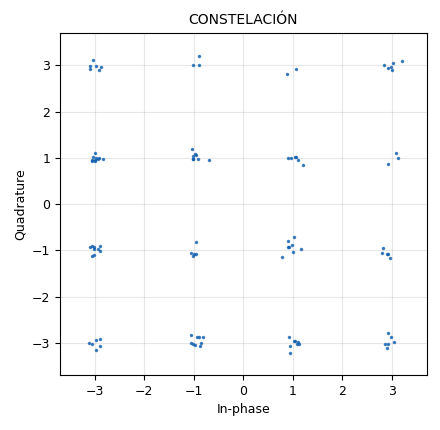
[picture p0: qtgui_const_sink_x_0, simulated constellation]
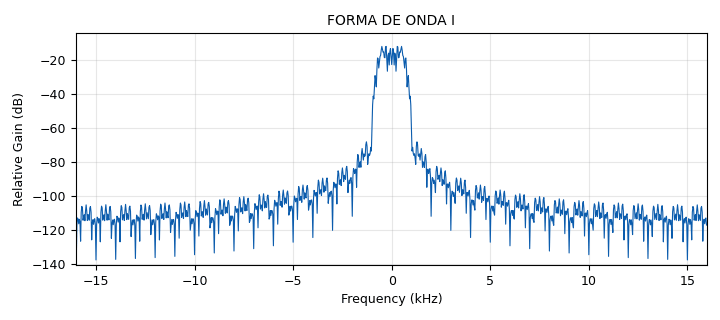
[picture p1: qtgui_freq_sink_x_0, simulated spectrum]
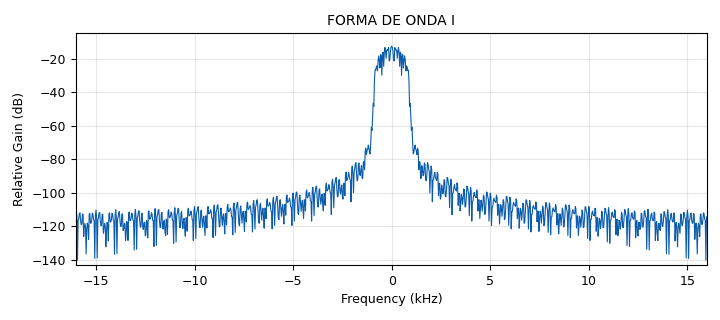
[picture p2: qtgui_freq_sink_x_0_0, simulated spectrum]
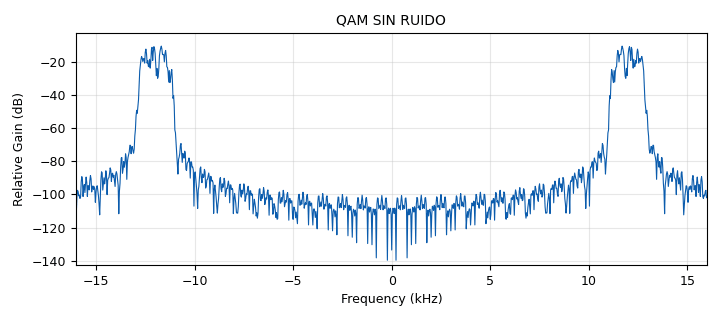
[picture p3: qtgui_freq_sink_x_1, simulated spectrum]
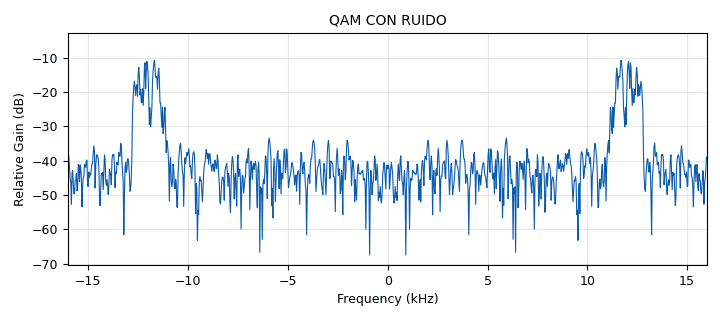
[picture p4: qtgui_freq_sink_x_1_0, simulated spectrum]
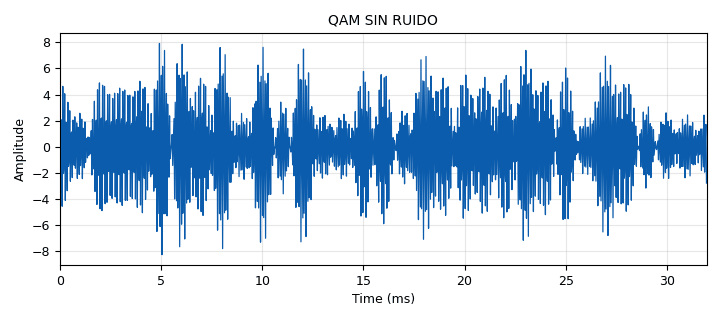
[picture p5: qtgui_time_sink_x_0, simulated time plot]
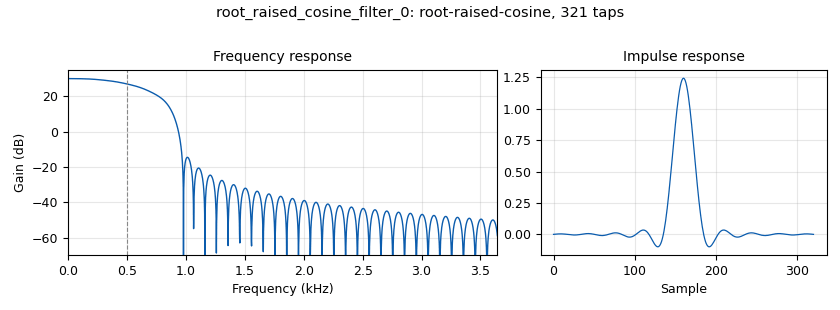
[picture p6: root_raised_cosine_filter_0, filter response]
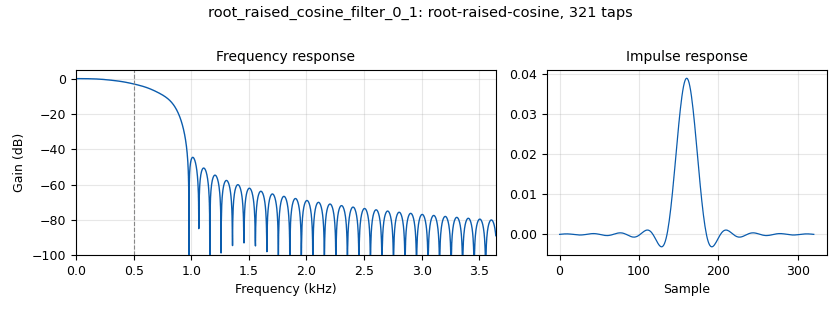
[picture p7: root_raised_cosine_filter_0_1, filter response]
options:
  parameters:
    author: bremdow
    generate_options: qt_gui
    id: mod_qam
    output_language: python
    title: Mod QAM
  states: {}

blocks:
- name: M
  id: variable
  parameters:
    value: '16'
  states: {}
- name: freq_carrier
  id: variable
  parameters:
    value: '12000'
  states: {}
- name: noise_amp
  id: variable_qtgui_range
  parameters:
    label: AWGN
    start: '0'
    step: '0.1'
    stop: '1.5'
    value: '500e-3'
  states: {}
- name: roll_off
  id: variable_qtgui_chooser
  parameters:
    label: ROLL OFF
    label0: '0.9'
    label1: '0.5'
    label2: '0.1'
    num_opts: '3'
    option0: '0.9'
    option1: '0.5'
    option2: '0.1'
    type: real
    value: '0.9'
  states: {}
- name: samp_per_sym
  id: variable
  parameters:
    value: '32'
  states: {}
- name: samp_rate
  id: variable
  parameters:
    value: '32000'
  states: {}
- name: analog_noise_source_x_0
  id: analog_noise_source_x
  parameters:
    amp: noise_amp
    noise_type: analog.GR_GAUSSIAN
    seed: '0'
    type: float
  states: {}
- name: analog_random_source_x_0
  id: analog_random_source_x
  parameters:
    max: '2'
    min: '0'
    num_samps: '1000'
    repeat: 'True'
    type: byte
  states: {}
- name: analog_sig_source_x_0
  id: analog_sig_source_x
  parameters:
    amp: math.sqrt(2)
    freq: freq_carrier
    offset: '0'
    phase: '0'
    samp_rate: samp_rate
    type: float
    waveform: analog.GR_COS_WAVE
  states: {}
- name: analog_sig_source_x_0_0
  id: analog_sig_source_x
  parameters:
    amp: '-math.sqrt(2)'
    freq: freq_carrier
    offset: '0'
    phase: '0'
    samp_rate: samp_rate
    type: float
    waveform: analog.GR_SIN_WAVE
  states: {}
- name: analog_sig_source_x_0_0_0
  id: analog_sig_source_x
  parameters:
    amp: '-math.sqrt(2)'
    freq: freq_carrier
    offset: '0'
    phase: '0'
    samp_rate: samp_rate
    type: float
    waveform: analog.GR_SIN_WAVE
  states: {}
- name: analog_sig_source_x_0_1
  id: analog_sig_source_x
  parameters:
    amp: math.sqrt(2)
    freq: freq_carrier
    offset: '0'
    phase: '0'
    samp_rate: samp_rate
    type: float
    waveform: analog.GR_COS_WAVE
  states: {}
- name: blocks_add_xx_0
  id: blocks_add_xx
  parameters:
    type: float
  states: {}
- name: blocks_add_xx_0_0
  id: blocks_add_xx
  parameters:
    type: float
  states: {}
- name: blocks_char_to_float_0
  id: blocks_char_to_float
  parameters:
    scale: '1'
  states: {}
- name: blocks_char_to_float_0_0
  id: blocks_char_to_float
  parameters:
    scale: '1'
  states: {}
- name: blocks_float_to_complex_0
  id: blocks_float_to_complex
  parameters: {}
  states: {}
- name: blocks_keep_one_in_n_0
  id: blocks_keep_one_in_n
  parameters:
    n: samp_per_sym
    type: float
  states: {}
- name: blocks_keep_one_in_n_0_0
  id: blocks_keep_one_in_n
  parameters:
    n: samp_per_sym
    type: float
  states: {}
- name: blocks_multiply_xx_0
  id: blocks_multiply_xx
  parameters:
    type: float
  states: {}
- name: blocks_multiply_xx_0_0
  id: blocks_multiply_xx
  parameters:
    type: float
  states: {}
- name: blocks_multiply_xx_0_0_0
  id: blocks_multiply_xx
  parameters:
    type: float
  states: {}
- name: blocks_multiply_xx_0_0_0_0
  id: blocks_multiply_xx
  parameters:
    type: float
  states: {}
- name: blocks_pack_k_bits_bb_0
  id: blocks_pack_k_bits_bb
  parameters:
    k: int(np.log2(M))
  states: {}
- name: blocks_skiphead_0
  id: blocks_skiphead
  parameters:
    num_items: '1024'
    type: float
  states: {}
- name: blocks_skiphead_0_0
  id: blocks_skiphead
  parameters:
    num_items: '1024'
    type: float
  states: {}
- name: digital_map_bb_0
  id: digital_map_bb
  parameters:
    map: (1, -1, -1, 1, 3, 3, 1, -1, -3, -3, -3, -3, -1, 3, 3, 1)
  states: {}
- name: digital_map_bb_1
  id: digital_map_bb
  parameters:
    map: (1, 1, -1, -1, 1, 3, 3, 3, 3, 1, -1, -3, -3, -1, -3, -3)
  states: {}
- name: fiqam
  id: qtgui_tab_widget
  parameters:
    label0: TRANSMISOR - MOD - QAM
    label1: QAM + RUIDO
    label2: RECEPTOR - DEMOD - QAM
    num_tabs: '3'
  states: {}
- name: import_0
  id: import
  parameters:
    imports: import math
  states: {}
- name: import_1
  id: import
  parameters:
    imports: import numpy as np
  states: {}
- name: interp_fir_filter_xxx_0
  id: interp_fir_filter_xxx
  parameters:
    interp: samp_per_sym
    taps: np.hstack((1, np.zeros(samp_per_sym - 1)))
    type: fff
  states: {}
- name: interp_fir_filter_xxx_0_0
  id: interp_fir_filter_xxx
  parameters:
    interp: samp_per_sym
    taps: np.hstack((1, np.zeros(samp_per_sym - 1)))
    type: fff
  states: {}
- name: note_0
  id: note
  parameters:
    note: MOD 16 QAM
  states: {}
- name: note_0_0
  id: note
  parameters:
    note: TRANSFORMACIÓN A PASO BANDA
  states: {}
- name: note_0_0_0
  id: note
  parameters:
    note: 'DEMOD QAM '
  states: {}
- name: qtgui_const_sink_x_0
  id: qtgui_const_sink_x
  parameters:
    autoscale: 'True'
    grid: 'True'
    gui_hint: 'fiqam@2: 0, 2, 2, 1'
    name: '"CONSTELACIÓN"'
    size: '100'
    type: complex
  states: {}
- name: qtgui_freq_sink_x_0
  id: qtgui_freq_sink_x
  parameters:
    autoscale: 'True'
    bw: samp_rate
    fc: '0'
    fftsize: '1024'
    grid: 'True'
    gui_hint: fiqam@0:0,2
    name: '"FORMA DE ONDA I"'
    type: float
  states: {}
- name: qtgui_freq_sink_x_0_0
  id: qtgui_freq_sink_x
  parameters:
    autoscale: 'True'
    bw: samp_rate
    fc: '0'
    fftsize: '1024'
    grid: 'True'
    gui_hint: fiqam@0:1,2
    name: '"FORMA DE ONDA I"'
    type: float
  states: {}
- name: qtgui_freq_sink_x_1
  id: qtgui_freq_sink_x
  parameters:
    autoscale: 'True'
    bw: samp_rate
    fc: '0'
    fftsize: '1024'
    grid: 'True'
    gui_hint: 'fiqam@1: 0, 1 '
    name: '"QAM SIN RUIDO"'
    type: float
  states: {}
- name: qtgui_freq_sink_x_1_0
  id: qtgui_freq_sink_x
  parameters:
    autoscale: 'True'
    bw: samp_rate
    fc: '0'
    fftsize: '1024'
    grid: 'True'
    gui_hint: fiqam@1:1,1
    name: '"QAM CON RUIDO"'
    type: float
  states: {}
- name: qtgui_time_sink_x_0
  id: qtgui_time_sink_x
  parameters:
    autoscale: 'True'
    grid: 'True'
    gui_hint: fiqam@1:0,0
    name: '"QAM SIN RUIDO"'
    size: '1024'
    srate: samp_rate
    type: float
  states: {}
- name: qtgui_time_sink_x_0_0
  id: qtgui_time_sink_x
  parameters:
    autoscale: 'True'
    gui_hint: 'fiqam@0: 0, 0'
    name: '"SIMBOLOS GENERADOS I"'
    size: M
    srate: samp_rate
    type: float
  states: {}
- name: qtgui_time_sink_x_0_0_0
  id: qtgui_time_sink_x
  parameters:
    autoscale: 'True'
    grid: 'True'
    gui_hint: fiqam@0:0,1
    name: '"FORMA DE ONDA I"'
    size: '1024'
    srate: samp_rate
    type: float
  states: {}
- name: qtgui_time_sink_x_0_0_0_0
  id: qtgui_time_sink_x
  parameters:
    autoscale: 'True'
    grid: 'True'
    gui_hint: fiqam@0:1,1
    name: '"FORMA DE ONDA I"'
    size: '1024'
    srate: samp_rate
    type: float
  states: {}
- name: qtgui_time_sink_x_0_0_1
  id: qtgui_time_sink_x
  parameters:
    autoscale: 'True'
    gui_hint: 'fiqam@0: 1, 0'
    name: '"SIMBOLOS GENERADOS Q"'
    size: M
    srate: samp_rate
    type: float
  states: {}
- name: qtgui_time_sink_x_0_1
  id: qtgui_time_sink_x
  parameters:
    autoscale: 'True'
    grid: 'True'
    gui_hint: fiqam@1:1,0
    name: '"QAM CON RUIDO"'
    size: '1024'
    srate: samp_rate
    type: float
  states: {}
- name: qtgui_time_sink_x_1
  id: qtgui_time_sink_x
  parameters:
    autoscale: 'True'
    grid: 'True'
    gui_hint: fiqam@2:0,0
    name: '"BANDA BASE I"'
    size: '1024'
    srate: samp_rate
    type: float
  states: {}
- name: qtgui_time_sink_x_1_0
  id: qtgui_time_sink_x
  parameters:
    autoscale: 'True'
    grid: 'True'
    gui_hint: fiqam@2:0,1
    name: '"SALIDA FILTRO I"'
    size: '1024'
    srate: samp_rate
    type: float
  states: {}
- name: qtgui_time_sink_x_1_0_0
  id: qtgui_time_sink_x
  parameters:
    gui_hint: fiqam@2:1,1
    name: '"SALIDA FILTRO Q"'
    size: '1024'
    srate: samp_rate
    type: float
  states: {}
- name: qtgui_time_sink_x_1_1
  id: qtgui_time_sink_x
  parameters:
    autoscale: 'True'
    grid: 'True'
    gui_hint: fiqam@2:1,0
    name: '"BANDA BASE Q"'
    size: '1024'
    srate: samp_rate
    type: float
  states: {}
- name: root_raised_cosine_filter_0
  id: root_raised_cosine_filter
  parameters:
    alpha: roll_off
    decim: '1'
    gain: samp_per_sym
    ntaps: 10*samp_per_sym+1
    samp_rate: samp_rate
    sym_rate: samp_rate/samp_per_sym
    type: fir_filter_fff
  states: {}
- name: root_raised_cosine_filter_0_0
  id: root_raised_cosine_filter
  parameters:
    alpha: roll_off
    decim: '1'
    gain: samp_per_sym
    ntaps: 10*samp_per_sym+1
    samp_rate: samp_rate
    sym_rate: samp_rate/samp_per_sym
    type: fir_filter_fff
  states: {}
- name: root_raised_cosine_filter_0_1
  id: root_raised_cosine_filter
  parameters:
    alpha: roll_off
    decim: '1'
    gain: '1'
    ntaps: 10*samp_per_sym+1
    samp_rate: samp_rate
    sym_rate: samp_rate/samp_per_sym
    type: fir_filter_fff
  states: {}
- name: root_raised_cosine_filter_0_1_0
  id: root_raised_cosine_filter
  parameters:
    alpha: roll_off
    decim: '1'
    gain: '1'
    ntaps: 10*samp_per_sym+1
    samp_rate: samp_rate
    sym_rate: samp_rate/samp_per_sym
    type: fir_filter_fff
  states: {}
- name: virtual_sink_0
  id: virtual_sink
  parameters:
    stream_id: I_banda_base
  states: {}
- name: virtual_sink_0_0
  id: virtual_sink
  parameters:
    stream_id: Q_banda_base
  states: {}
- name: virtual_sink_1
  id: virtual_sink
  parameters:
    stream_id: QAM_paso_banda
  states: {}
- name: virtual_source_0
  id: virtual_source
  parameters:
    stream_id: Q_banda_base
  states: {}
- name: virtual_source_0_0
  id: virtual_source
  parameters:
    stream_id: I_banda_base
  states: {}
- name: virtual_source_1
  id: virtual_source
  parameters:
    stream_id: QAM_paso_banda
  states: {}

connections:
- [analog_noise_source_x_0, '0', blocks_add_xx_0_0, '0']
- [analog_random_source_x_0, '0', blocks_pack_k_bits_bb_0, '0']
- [analog_sig_source_x_0, '0', blocks_multiply_xx_0, '0']
- [analog_sig_source_x_0_0, '0', blocks_multiply_xx_0_0, '1']
- [analog_sig_source_x_0_0_0, '0', blocks_multiply_xx_0_0_0_0, '1']
- [analog_sig_source_x_0_1, '0', blocks_multiply_xx_0_0_0, '0']
- [blocks_add_xx_0, '0', blocks_add_xx_0_0, '1']
- [blocks_add_xx_0, '0', qtgui_freq_sink_x_1, '0']
- [blocks_add_xx_0, '0', qtgui_time_sink_x_0, '0']
- [blocks_add_xx_0_0, '0', qtgui_freq_sink_x_1_0, '0']
- [blocks_add_xx_0_0, '0', qtgui_time_sink_x_0_1, '0']
- [blocks_add_xx_0_0, '0', virtual_sink_1, '0']
- [blocks_char_to_float_0, '0', interp_fir_filter_xxx_0, '0']
- [blocks_char_to_float_0, '0', qtgui_time_sink_x_0_0, '0']
- [blocks_char_to_float_0_0, '0', interp_fir_filter_xxx_0_0, '0']
- [blocks_char_to_float_0_0, '0', qtgui_time_sink_x_0_0_1, '0']
- [blocks_float_to_complex_0, '0', qtgui_const_sink_x_0, '0']
- [blocks_keep_one_in_n_0, '0', blocks_float_to_complex_0, '0']
- [blocks_keep_one_in_n_0_0, '0', blocks_float_to_complex_0, '1']
- [blocks_multiply_xx_0, '0', blocks_add_xx_0, '0']
- [blocks_multiply_xx_0_0, '0', blocks_add_xx_0, '1']
- [blocks_multiply_xx_0_0_0, '0', qtgui_time_sink_x_1, '0']
- [blocks_multiply_xx_0_0_0, '0', root_raised_cosine_filter_0_1, '0']
- [blocks_multiply_xx_0_0_0_0, '0', qtgui_time_sink_x_1_1, '0']
- [blocks_multiply_xx_0_0_0_0, '0', root_raised_cosine_filter_0_1_0, '0']
- [blocks_pack_k_bits_bb_0, '0', digital_map_bb_0, '0']
- [blocks_pack_k_bits_bb_0, '0', digital_map_bb_1, '0']
- [blocks_skiphead_0, '0', blocks_keep_one_in_n_0, '0']
- [blocks_skiphead_0_0, '0', blocks_keep_one_in_n_0_0, '0']
- [digital_map_bb_0, '0', blocks_char_to_float_0, '0']
- [digital_map_bb_1, '0', blocks_char_to_float_0_0, '0']
- [interp_fir_filter_xxx_0, '0', root_raised_cosine_filter_0, '0']
- [interp_fir_filter_xxx_0_0, '0', root_raised_cosine_filter_0_0, '0']
- [root_raised_cosine_filter_0, '0', qtgui_freq_sink_x_0, '0']
- [root_raised_cosine_filter_0, '0', qtgui_time_sink_x_0_0_0, '0']
- [root_raised_cosine_filter_0, '0', virtual_sink_0, '0']
- [root_raised_cosine_filter_0_0, '0', qtgui_freq_sink_x_0_0, '0']
- [root_raised_cosine_filter_0_0, '0', qtgui_time_sink_x_0_0_0_0, '0']
- [root_raised_cosine_filter_0_0, '0', virtual_sink_0_0, '0']
- [root_raised_cosine_filter_0_1, '0', blocks_skiphead_0, '0']
- [root_raised_cosine_filter_0_1, '0', qtgui_time_sink_x_1_0, '0']
- [root_raised_cosine_filter_0_1_0, '0', blocks_skiphead_0_0, '0']
- [root_raised_cosine_filter_0_1_0, '0', qtgui_time_sink_x_1_0_0, '0']
- [virtual_source_0, '0', blocks_multiply_xx_0_0, '0']
- [virtual_source_0_0, '0', blocks_multiply_xx_0, '1']
- [virtual_source_1, '0', blocks_multiply_xx_0_0_0, '1']
- [virtual_source_1, '0', blocks_multiply_xx_0_0_0_0, '0']

metadata:
  file_format: 1
  grc_version: 3.10.9.2
